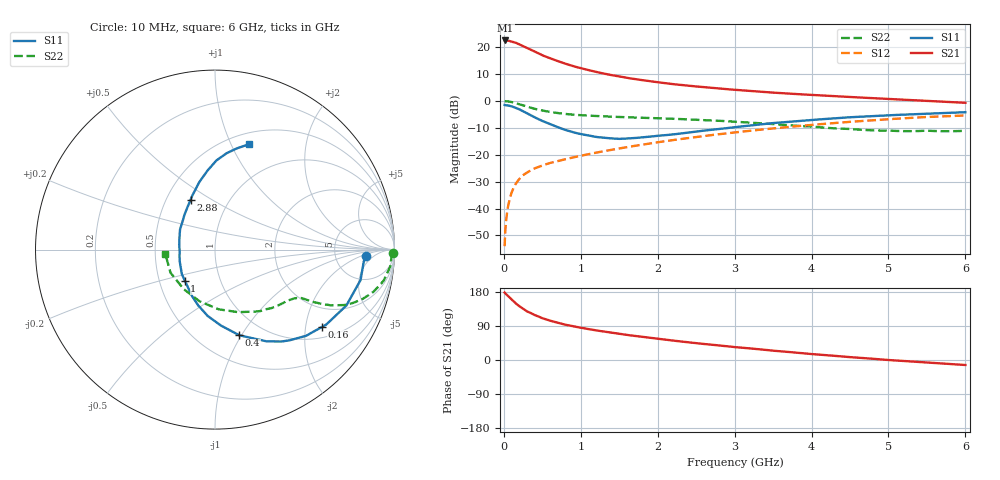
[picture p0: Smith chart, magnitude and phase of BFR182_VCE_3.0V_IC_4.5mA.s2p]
! Infineon Technologies  Discrete & RF Semiconductors
! BFR182
! VCE =  3.0 V,  IC =  4.5 mA
! Common Emitter S-Parameters:  Nov 2015
# GHz  S  MA  R  50
!  f  S11  S21  S12  S22
! GHz  MAG  ANG  MAG  ANG  MAG  ANG  MAG  ANG
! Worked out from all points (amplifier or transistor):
!   210 points, 10 MHz to 6 GHz, reference 50 ohm
!   highest |S21| = 22.5 dB at 20 MHz (marker M1)
!   |S21| within 3 dB of that: start of sweep to 319.4 MHz
!   unconditionally stable (mu >= 1): 1.131 GHz to 2.877 GHz
!   at 185 MHz: K = 0.31, MSG = 25.4 dB, |S12| = -29.6 dB
!   at 1.52 GHz: K = 1.06, MAG = 11.8 dB, |S12| = -17.6 dB
!   at 6 GHz: K = 0.88, MSG = 2.3 dB, |S12| = -5.4 dB
!   S11 on the Smith chart (normalised r, x): 10 MHz: 11, -3; 160 MHz: 1.32, -2.48; 400 MHz: 0.77, -0.98; 1 GHz: 0.67, -0.25; 2.88 GHz: 0.66, +0.41; 6 GHz: 0.62, +1.17
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0.01  0.8398 -2.4  13.22 177.9  0.002 90.1  0.9902 -1.1
0.02  0.8315 -4.6  13.26 175.6  0.0041 81.4  0.9842 -2.2
0.05  0.8286 -11.8  13.25 169.6  0.01 84.4  0.9811 -5.5
0.1  0.7953 -23.1  12.66 160.1  0.0197 78.3  0.9551 -10.5
0.135  0.7587 -30.6  12.25 153.0  0.0256 73.9  0.9249 -13.6
0.15  0.7472 -34.0  12.13 149.9  0.0281 72.6  0.9128 -15.0
0.16  0.736 -35.8  11.94 148.5  0.0295 71.8  0.9037 -15.7
0.2  0.6989 -43.4  11.28 142.3  0.0353 69.3  0.8685 -18.4
0.3  0.5862 -60.7  9.682 128.4  0.0466 63.5  0.7842 -23.2
0.4  0.4957 -74.2  8.269 118.7  0.0557 60.4  0.7127 -25.8
0.5  0.4246 -85.5  7.026 110.3  0.0629 58.9  0.6613 -27.1
0.62  0.3617 -98.1  6.041 102.7  0.0713 58.5  0.6177 -28.1
0.8  0.2888 -116.3  4.901 93.1  0.0825 58.7  0.5712 -28.9
1  0.242 -134.2  4.049 85.1  0.0955 59.6  0.5423 -29.8
1.02  0.2389 -136.1  3.985 84.4  0.0969 59.7  0.5402 -29.9
1.4  0.201 -170.0  3.008 72.1  0.1231 61.0  0.5088 -33.0
2.02  0.2263 148.6  2.202 55.6  0.1716 60.4  0.4753 -40.1
2.88  0.3097 115.9  1.658 36.7  0.248 56.1  0.4205 -54.8
3.1  0.3365 110.8  1.568 32.4  0.2691 54.2  0.4015 -59.5
4.1  0.4527 94.0  1.267 14.2  0.3679 44.6  0.3237 -90.1
5.1  0.5479 82.0  1.073 -1.3  0.4661 32.3  0.2765 -133.2
6  0.6167 72.1  0.921 -13.2  0.5364 19.4  0.2781 -175.3
